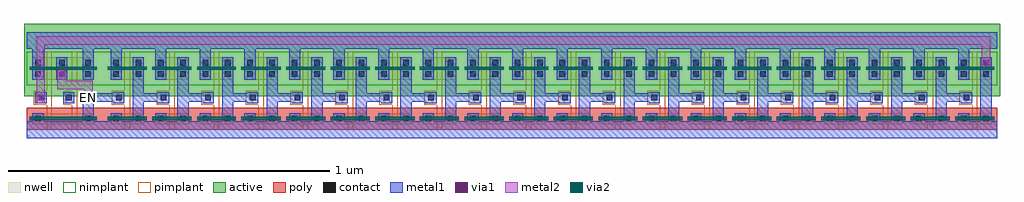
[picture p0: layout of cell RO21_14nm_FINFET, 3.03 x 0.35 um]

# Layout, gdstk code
import gdstk
lib = gdstk.Library(unit=1e-6, precision=1e-09)
def R(c, l, rs):  # rectangles x0, y0, x1, y1
    for r in rs: c.add(gdstk.rectangle(r[:2], r[2:], *l))
def A(c, l, x, y, w, h, nx, ny, dx, dy):  # array of equal rectangles
    R(c, l, [(x+i*dx, y+j*dy, x+i*dx+w, y+j*dy+h) for i in range(nx) for j in range(ny)])
active = (1, 0)
nwell = (2, 0)
poly = (3, 0)
nimplant = (4, 0)
pimplant = (5, 0)
contact = (6, 0)
metal1 = (7, 0)
via1 = (8, 0)
metal2 = (9, 0)
via2 = (10, 0)

ro21_14nm_finfet = lib.new_cell('RO21_14nm_FINFET')
A(ro21_14nm_finfet, active, 0.511, 0.13, 0.156, 0.225, 3, 1, 0.139, 0)
A(ro21_14nm_finfet, active, 0.927, 0.13, 0.156, 0.225, 3, 1, 0.139, 0)
A(ro21_14nm_finfet, active, 1.343, 0.13, 0.156, 0.225, 3, 1, 0.139, 0)
A(ro21_14nm_finfet, active, 1.759, 0.13, 0.156, 0.225, 3, 1, 0.139, 0)
A(ro21_14nm_finfet, active, 2.175, 0.13, 0.156, 0.225, 3, 1, 0.139, 0)
A(ro21_14nm_finfet, active, 2.591, 0.13, 0.156, 0.225, 3, 1, 0.139, 0)
R(ro21_14nm_finfet, active, [(-0.009,0.13,0.251,0.355), (0.234,0.13,0.39,0.355), (0.373,0.13,0.529,0.355)])
A(ro21_14nm_finfet, nwell, 0.537, 0.043, 0.104, 0.035, 3, 1, 0.139, 0)
A(ro21_14nm_finfet, nwell, 0.953, 0.043, 0.104, 0.035, 3, 1, 0.139, 0)
A(ro21_14nm_finfet, nwell, 1.369, 0.043, 0.104, 0.035, 3, 1, 0.139, 0)
A(ro21_14nm_finfet, nwell, 1.785, 0.043, 0.104, 0.035, 3, 1, 0.139, 0)
A(ro21_14nm_finfet, nwell, 2.201, 0.043, 0.104, 0.035, 3, 1, 0.139, 0)
A(ro21_14nm_finfet, nwell, 2.617, 0.043, 0.104, 0.035, 3, 1, 0.139, 0)
A(ro21_14nm_finfet, nwell, 0.537, 0.182, 0.104, 0.069, 3, 1, 0.139, 0)
A(ro21_14nm_finfet, nwell, 0.953, 0.182, 0.104, 0.069, 3, 1, 0.139, 0)
A(ro21_14nm_finfet, nwell, 1.369, 0.182, 0.104, 0.069, 3, 1, 0.139, 0)
A(ro21_14nm_finfet, nwell, 1.785, 0.182, 0.104, 0.069, 3, 1, 0.139, 0)
A(ro21_14nm_finfet, nwell, 2.201, 0.182, 0.104, 0.069, 3, 1, 0.139, 0)
A(ro21_14nm_finfet, nwell, 2.617, 0.182, 0.104, 0.069, 3, 1, 0.139, 0)
R(ro21_14nm_finfet, nwell, [(0.017,0.043,0.208,0.078), (0.26,0.043,0.364,0.078), (0.399,0.043,0.503,0.078), (0.017,0.182,0.208,0.251), (0.26,0.182,0.364,0.251), (0.399,0.182,0.503,0.251)])
A(ro21_14nm_finfet, poly, 0.243, 0.026, 0.138, 0.069, 7, 1, 0.416, 0)
R(ro21_14nm_finfet, poly, [(0,0.026,0.243,0.095), (0.381,0.026,0.52,0.095), (0.52,0.026,0.659,0.095), (0.797,0.026,0.936,0.095), (0.936,0.026,1.075,0.095), (1.213,0.026,1.352,0.095), (1.352,0.026,1.491,0.095), (1.629,0.026,1.768,0.095), (1.768,0.026,1.907,0.095), (2.045,0.026,2.184,0.095), (2.184,0.026,2.323,0.095), (2.461,0.026,2.6,0.095), (2.6,0.026,2.739,0.095), (2.877,0.026,3.016,0.095)])
A(ro21_14nm_finfet, nimplant, 0.243, 0.165, 0.138, 0.104, 7, 1, 0.416, 0)
R(ro21_14nm_finfet, nimplant, [(0,0.165,0.243,0.269), (0.381,0.165,0.52,0.269), (0.52,0.165,0.659,0.269), (0.797,0.165,0.936,0.269), (0.936,0.165,1.075,0.269), (1.213,0.165,1.352,0.269), (1.352,0.165,1.491,0.269), (1.629,0.165,1.768,0.269), (1.768,0.165,1.907,0.269), (2.045,0.165,2.184,0.269), (2.184,0.165,2.323,0.269), (2.461,0.165,2.6,0.269), (2.6,0.165,2.739,0.269), (2.877,0.165,3.016,0.269)])
A(ro21_14nm_finfet, pimplant, 0.303, 0.026, 0.018, 0.243, 7, 1, 0.416, 0)
A(ro21_14nm_finfet, pimplant, 0.264, 0.104, 0.044, 0.043, 7, 1, 0.416, 0)
R(ro21_14nm_finfet, pimplant, [(0.061,0.026,0.078,0.269), (0.139,0.026,0.156,0.269), (0.442,0.026,0.459,0.269), (0.581,0.026,0.598,0.269), (0.858,0.026,0.875,0.269), (0.997,0.026,1.014,0.269), (1.274,0.026,1.291,0.269), (1.413,0.026,1.43,0.269), (1.69,0.026,1.707,0.269), (1.829,0.026,1.846,0.269), (2.106,0.026,2.123,0.269), (2.245,0.026,2.262,0.269), (2.522,0.026,2.539,0.269), (2.661,0.026,2.678,0.269), (2.938,0.026,2.955,0.269), (0.022,0.104,0.065,0.147), (0.113,0.104,0.156,0.147), (0.403,0.104,0.446,0.147), (0.542,0.104,0.585,0.147), (0.819,0.104,0.862,0.147), (0.958,0.104,1.001,0.147), (1.235,0.104,1.278,0.147), (1.374,0.104,1.417,0.147), (1.651,0.104,1.694,0.147), (1.79,0.104,1.833,0.147), (2.067,0.104,2.11,0.147), (2.206,0.104,2.249,0.147), (2.483,0.104,2.526,0.147), (2.622,0.104,2.665,0.147), (2.899,0.104,2.942,0.147)])
A(ro21_14nm_finfet, contact, 0.407, 0.052, 0.018, 0.017, 13, 2, 0.208, 0.139)
A(ro21_14nm_finfet, contact, 0.277, 0.117, 0.018, 0.017, 7, 1, 0.416, 0)
A(ro21_14nm_finfet, contact, 0.407, 0.225, 0.018, 0.018, 13, 1, 0.208, 0)
R(ro21_14nm_finfet, contact, [(0.026,0.052,0.043,0.069), (0.182,0.052,0.199,0.069), (0.269,0.052,0.286,0.069), (0.338,0.052,0.355,0.069), (0.477,0.052,0.494,0.069), (0.546,0.052,0.563,0.069), (0.685,0.052,0.702,0.069), (0.754,0.052,0.771,0.069), (0.893,0.052,0.91,0.069), (0.962,0.052,0.979,0.069), (1.101,0.052,1.118,0.069), (1.17,0.052,1.187,0.069), (1.309,0.052,1.326,0.069), (1.378,0.052,1.395,0.069), (1.517,0.052,1.534,0.069), (1.586,0.052,1.603,0.069), (1.725,0.052,1.742,0.069), (1.794,0.052,1.811,0.069), (1.933,0.052,1.95,0.069), (2.002,0.052,2.019,0.069), (2.141,0.052,2.158,0.069), (2.21,0.052,2.227,0.069), (2.349,0.052,2.366,0.069), (2.418,0.052,2.435,0.069), (2.557,0.052,2.574,0.069), (2.626,0.052,2.643,0.069), (2.765,0.052,2.782,0.069), (2.834,0.052,2.851,0.069), (2.973,0.052,2.99,0.069), (0.035,0.117,0.052,0.134), (0.121,0.117,0.139,0.134), (0.416,0.117,0.433,0.134), (0.555,0.117,0.572,0.134), (0.832,0.117,0.849,0.134), (0.971,0.117,0.988,0.134), (1.248,0.117,1.265,0.134), (1.387,0.117,1.404,0.134), (1.664,0.117,1.681,0.134), (1.803,0.117,1.82,0.134), (2.08,0.117,2.097,0.134), (2.219,0.117,2.236,0.134), (2.496,0.117,2.513,0.134), (2.635,0.117,2.652,0.134), (2.912,0.117,2.929,0.134), (0.026,0.191,0.043,0.208), (0.1,0.191,0.117,0.208), (0.182,0.191,0.199,0.208), (0.269,0.191,0.286,0.208), (0.338,0.191,0.355,0.208), (0.477,0.191,0.494,0.208), (0.546,0.191,0.563,0.208), (0.685,0.191,0.702,0.208), (0.754,0.191,0.771,0.208), (0.893,0.191,0.91,0.208), (0.962,0.191,0.979,0.208), (1.101,0.191,1.118,0.208), (1.17,0.191,1.187,0.208), (1.309,0.191,1.326,0.208), (1.378,0.191,1.395,0.208), (1.517,0.191,1.534,0.208), (1.586,0.191,1.603,0.208), (1.725,0.191,1.742,0.208), (1.794,0.191,1.811,0.208), (1.933,0.191,1.95,0.208), (2.002,0.191,2.019,0.208), (2.141,0.191,2.158,0.208), (2.21,0.191,2.227,0.208), (2.349,0.191,2.366,0.208), (2.418,0.191,2.435,0.208), (2.557,0.191,2.574,0.208), (2.626,0.191,2.643,0.208), (2.765,0.191,2.782,0.208), (2.834,0.191,2.851,0.208), (2.973,0.191,2.99,0.208), (0.026,0.225,0.043,0.243), (0.1,0.225,0.117,0.243), (0.182,0.225,0.199,0.243), (0.269,0.225,0.286,0.243), (0.338,0.225,0.355,0.243), (0.477,0.225,0.494,0.243), (0.546,0.225,0.563,0.243), (0.685,0.225,0.702,0.243), (0.754,0.225,0.771,0.243), (0.893,0.225,0.91,0.243), (0.962,0.225,0.979,0.243), (1.101,0.225,1.118,0.243), (1.17,0.225,1.187,0.243), (1.309,0.225,1.326,0.243), (1.378,0.225,1.395,0.243), (1.517,0.225,1.534,0.243), (1.586,0.225,1.603,0.243), (1.725,0.225,1.742,0.243), (1.794,0.225,1.811,0.243), (1.933,0.225,1.95,0.243), (2.002,0.225,2.019,0.243), (2.141,0.225,2.158,0.243), (2.21,0.225,2.227,0.243), (2.349,0.225,2.366,0.243), (2.418,0.225,2.435,0.243), (2.557,0.225,2.574,0.243), (2.626,0.225,2.643,0.243), (2.765,0.225,2.782,0.243), (2.834,0.225,2.851,0.243), (2.973,0.225,2.99,0.243)])
A(ro21_14nm_finfet, metal1, 0.243, 0, 0.138, 0.052, 7, 2, 0.416, 0.277)
A(ro21_14nm_finfet, metal1, 0.399, 0, 0.034, 0.078, 7, 1, 0.416, 0)
A(ro21_14nm_finfet, metal1, 0.607, 0.043, 0.034, 0.208, 6, 1, 0.416, 0)
A(ro21_14nm_finfet, metal1, 0.269, 0.108, 0.034, 0.035, 7, 1, 0.416, 0)
A(ro21_14nm_finfet, metal1, 0.641, 0.113, 0.044, 0.026, 6, 1, 0.416, 0)
A(ro21_14nm_finfet, metal1, 0.399, 0.182, 0.034, 0.147, 7, 1, 0.416, 0)
R(ro21_14nm_finfet, metal1, [(0,0,0.243,0.052), (0.017,0,0.052,0.078), (0.26,0,0.295,0.078), (0.381,0,0.52,0.052), (0.52,0,0.659,0.052), (0.537,0,0.572,0.078), (0.676,0,0.711,0.078), (0.797,0,0.936,0.052), (0.936,0,1.075,0.052), (0.953,0,0.988,0.078), (1.092,0,1.127,0.078), (1.213,0,1.352,0.052), (1.352,0,1.491,0.052), (1.369,0,1.404,0.078), (1.508,0,1.543,0.078), (1.629,0,1.768,0.052), (1.768,0,1.907,0.052), (1.785,0,1.82,0.078), (1.924,0,1.959,0.078), (2.045,0,2.184,0.052), (2.184,0,2.323,0.052), (2.201,0,2.236,0.078), (2.34,0,2.375,0.078), (2.461,0,2.6,0.052), (2.6,0,2.739,0.052), (2.617,0,2.652,0.078), (2.756,0,2.791,0.078), (2.877,0,3.016,0.052), (0.173,0.043,0.208,0.139), (0.329,0.043,0.364,0.251), (0.468,0.043,0.503,0.251), (0.745,0.043,0.78,0.251), (0.884,0.043,0.919,0.251), (1.161,0.043,1.196,0.251), (1.3,0.043,1.335,0.251), (1.577,0.043,1.612,0.251), (1.716,0.043,1.751,0.251), (1.993,0.043,2.028,0.251), (2.132,0.043,2.167,0.251), (2.409,0.043,2.444,0.251), (2.548,0.043,2.583,0.251), (2.825,0.043,2.86,0.251), (2.964,0.043,2.999,0.251), (0.026,0.108,0.061,0.143), (0.113,0.108,0.147,0.143), (0.407,0.108,0.442,0.143), (0.546,0.108,0.581,0.143), (0.823,0.108,0.858,0.143), (0.962,0.108,0.997,0.143), (1.239,0.108,1.274,0.143), (1.378,0.108,1.413,0.143), (1.655,0.108,1.69,0.143), (1.794,0.108,1.829,0.143), (2.071,0.108,2.106,0.143), (2.21,0.108,2.245,0.143), (2.487,0.108,2.522,0.143), (2.626,0.108,2.661,0.143), (2.903,0.108,2.938,0.143), (0.208,0.113,0.269,0.139), (0.364,0.113,0.407,0.139), (0.503,0.113,0.546,0.139), (0.78,0.113,0.823,0.139), (0.919,0.113,0.962,0.139), (1.196,0.113,1.239,0.139), (1.335,0.113,1.378,0.139), (1.612,0.113,1.655,0.139), (1.751,0.113,1.794,0.139), (2.028,0.113,2.071,0.139), (2.167,0.113,2.21,0.139), (2.444,0.113,2.487,0.139), (2.583,0.113,2.626,0.139), (2.86,0.113,2.903,0.139), (0.017,0.182,0.052,0.329), (0.091,0.182,0.126,0.251), (0.173,0.182,0.208,0.329), (0.26,0.182,0.295,0.329), (0.537,0.182,0.572,0.329), (0.676,0.182,0.711,0.329), (0.953,0.182,0.988,0.329), (1.092,0.182,1.127,0.329), (1.369,0.182,1.404,0.329), (1.508,0.182,1.543,0.329), (1.785,0.182,1.82,0.329), (1.924,0.182,1.959,0.329), (2.201,0.182,2.236,0.329), (2.34,0.182,2.375,0.329), (2.617,0.182,2.652,0.329), (2.756,0.182,2.791,0.329), (0,0.277,0.243,0.329), (0.381,0.277,0.52,0.329), (0.52,0.277,0.659,0.329), (0.797,0.277,0.936,0.329), (0.936,0.277,1.075,0.329), (1.213,0.277,1.352,0.329), (1.352,0.277,1.491,0.329), (1.629,0.277,1.768,0.329), (1.768,0.277,1.907,0.329), (2.045,0.277,2.184,0.329), (2.184,0.277,2.323,0.329), (2.461,0.277,2.6,0.329), (2.6,0.277,2.739,0.329), (2.877,0.277,3.016,0.329)])
R(ro21_14nm_finfet, via1, [(0.182,0.113,0.199,0.13), (0.035,0.117,0.052,0.134), (0.1,0.191,0.117,0.208), (2.973,0.225,2.99,0.243)])
R(ro21_14nm_finfet, metal2, [(0.03,0.108,0.056,0.316), (0.178,0.108,0.204,0.178), (0.095,0.152,0.204,0.178), (0.095,0.152,0.121,0.212), (2.968,0.221,2.994,0.316), (0.03,0.29,2.994,0.316)])
A(ro21_14nm_finfet, via2, 0.251, 0.056, 0.122, 0.01, 7, 2, 0.416, 0.156)
R(ro21_14nm_finfet, via2, [(0.009,0.056,0.217,0.066), (0.39,0.056,0.511,0.066), (0.529,0.056,0.65,0.066), (0.806,0.056,0.927,0.066), (0.945,0.056,1.066,0.066), (1.222,0.056,1.343,0.066), (1.361,0.056,1.482,0.066), (1.638,0.056,1.759,0.066), (1.777,0.056,1.898,0.066), (2.054,0.056,2.175,0.066), (2.193,0.056,2.314,0.066), (2.47,0.056,2.591,0.066), (2.609,0.056,2.73,0.066), (2.886,0.056,3.007,0.066), (0.009,0.212,0.217,0.222), (0.39,0.212,0.511,0.222), (0.529,0.212,0.65,0.222), (0.806,0.212,0.927,0.222), (0.945,0.212,1.066,0.222), (1.222,0.212,1.343,0.222), (1.361,0.212,1.482,0.222), (1.638,0.212,1.759,0.222), (1.777,0.212,1.898,0.222), (2.054,0.212,2.175,0.222), (2.193,0.212,2.314,0.222), (2.47,0.212,2.591,0.222), (2.609,0.212,2.73,0.222), (2.886,0.212,3.007,0.222)])
ro21_14nm_finfet.add(gdstk.Label('EN', (0.191,0.126), layer=7, texttype=0))

lib.write_gds('RO21_14nm_FINFET.gds')
